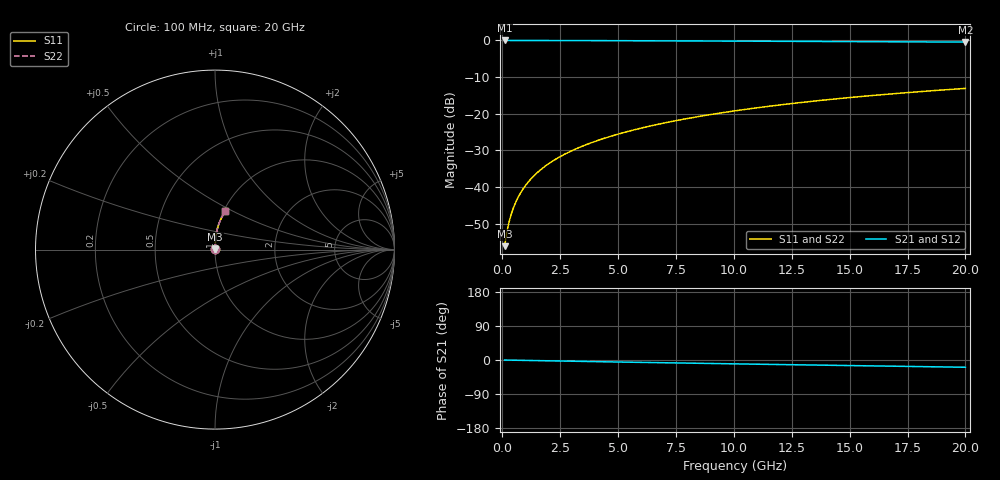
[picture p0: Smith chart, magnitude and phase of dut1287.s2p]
! Touchstone file exported from HFSS 2024.1.0
!  File:  C:/UserFiles/LocalFiles/RDL_TSV_Batchsim/temp_RDL_bottom_1287_1780246896.aedt
!  Generated:  01:04:13 AM Jun  1, 2026
!  Design:  RDL_bottom
!  Project:  temp_RDL_bottom_1287_1780246896
!  Setup:  Setup1
!  Solution:  Sweep
! Variables:
!  dtsv = 10.80580581um
!  hbump = 3um
!  htsv = 83.54um
!  ldown = 226.2um
!  lrdl = 100um
!  p = 40
!  p1 = 53um
!  rhole = 1um
!  t = 450um
!  tdown = 4.38um
!  trdl = 3.915915916um
!  wdown = 19.2um
!  wrdl = 20um
# GHz S MA R 50.000000
! Terminal data exported
! Port[1] = RDL1_T1
! Port[2] = RDL1_T2
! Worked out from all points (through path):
!   200 points, 100 MHz to 20 GHz, reference 50 ohm
!   highest |S21| = -0.01 dB at 100 MHz (marker M1); lowest = -0.5 dB at 20 GHz (marker M2)
!   group delay of S21, straight-line fit = 2.64 ps
!   lowest |S11| = -56.1 dB at 100 MHz (marker M3), VSWR 1.00, Z = 50.1 + j0.11 ohm
!   |S11| at or under -10 dB: start of sweep to end of sweep
!   |S22| runs from -56.1 to -13.1 dB; largest |S21 - S12| = 3.2e-15
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0.1  0.001562 44.6  0.9989 -0.1  0.9989 -0.1  0.001562 44.6
! Gamma 0 0 0 0
! Port Impedance 50 0 50 0
0.2  0.002452 61.8  0.9988 -0.2  0.9988 -0.2  0.002452 61.8
0.3  0.003418 69.4  0.9988 -0.3  0.9988 -0.3  0.003418 69.4
0.4  0.004403 73.8  0.9987 -0.4  0.9987 -0.4  0.004403 73.8
0.5  0.0054 76.6  0.9987 -0.6  0.9987 -0.6  0.0054 76.6
0.6  0.006404 78.6  0.9986 -0.7  0.9986 -0.7  0.006404 78.6
0.8  0.008431 81.1  0.9985 -0.9  0.9985 -0.9  0.008431 81.1
1.1  0.0115 83.3  0.9983 -1.2  0.9983 -1.2  0.0115 83.3
1.5  0.01562 84.9  0.9979 -1.6  0.9979 -1.6  0.01562 84.9
1.8  0.01872 85.6  0.9976 -2.0  0.9976 -2.0  0.01872 85.6
2.1  0.02184 86.1  0.9973 -2.3  0.9973 -2.3  0.02184 86.1
2.7  0.02811 86.7  0.9964 -2.9  0.9964 -2.9  0.02811 86.7
3.5  0.03656 87.0  0.995 -3.8  0.995 -3.8  0.03656 87.0
4.2  0.04405 87.1  0.9936 -4.5  0.9936 -4.5  0.04405 87.1
5  0.05271 87.0  0.9918 -5.3  0.9918 -5.3  0.05271 87.0
5.9  0.0626 86.7  0.9896 -6.2  0.9896 -6.2  0.0626 86.7
6.8  0.07262 86.3  0.9872 -7.1  0.9872 -7.1  0.07262 86.3
8.4  0.09071 85.4  0.9829 -8.7  0.9829 -8.7  0.09071 85.4
10.1  0.1102 84.1  0.9782 -10.3  0.9782 -10.3  0.1102 84.1
13.4  0.1481 81.1  0.9689 -13.3  0.9689 -13.3  0.1481 81.1
16.7  0.1854 78.0  0.9592 -16.3  0.9592 -16.3  0.1854 78.0
20  0.2216 74.8  0.9489 -19.2  0.9489 -19.2  0.2217 74.8
